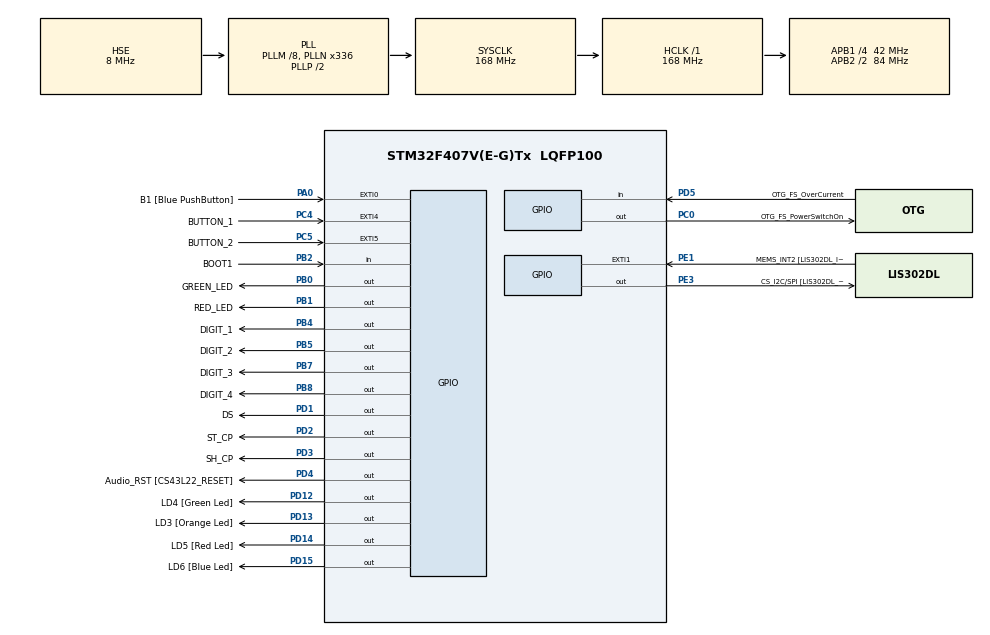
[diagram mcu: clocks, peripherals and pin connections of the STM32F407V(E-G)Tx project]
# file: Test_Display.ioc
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Mcu.Family=STM32F4
Mcu.Name=STM32F407V(E-G)Tx
Mcu.Package=LQFP100
NVIC.EXTI0_IRQn=true\:0\:0\:false\:false\:true\:true\:true\:true
NVIC.EXTI4_IRQn=true\:0\:0\:false\:false\:true\:true\:true\:true
NVIC.EXTI9_5_IRQn=true\:0\:0\:false\:false\:true\:true\:true\:true
NVIC.PriorityGroup=NVIC_PRIORITYGROUP_0
NVIC.TIM2_IRQn=true\:0\:0\:false\:false\:true\:true\:true\:true
NVIC.TIM3_IRQn=true\:0\:0\:false\:false\:true\:true\:true\:true
PA0-WKUP.GPIO_Label=B1 [Blue PushButton]
PA0-WKUP.GPIO_ModeDefaultEXTI=GPIO_MODE_IT_RISING
PA0-WKUP.GPIO_PuPd=GPIO_NOPULL
PA0-WKUP.Signal=GPXTI0
PA10.GPIO_Label=OTG_FS_ID
PA10.GPIO_Mode=GPIO_MODE_AF_PP
PA10.GPIO_PuPd=GPIO_NOPULL
PA10.GPIO_Speed=GPIO_SPEED_FREQ_LOW
PA10.Signal=USB_OTG_FS_ID
PA11.GPIO_Label=OTG_FS_DM
PA11.GPIO_Mode=GPIO_MODE_AF_PP
PA11.GPIO_PuPd=GPIO_NOPULL
PA11.GPIO_Speed=GPIO_SPEED_FREQ_LOW
PA11.Signal=USB_OTG_FS_DM
PA12.GPIO_Label=OTG_FS_DP
PA12.GPIO_Mode=GPIO_MODE_AF_PP
PA12.GPIO_PuPd=GPIO_NOPULL
PA12.GPIO_Speed=GPIO_SPEED_FREQ_LOW
PA12.Signal=USB_OTG_FS_DP
PA13.GPIO_Label=SWDIO
PA13.Mode=Serial_Wire
PA13.Signal=SYS_JTMS-SWDIO
PA14.GPIO_Label=SWCLK
PA14.Mode=Serial_Wire
PA14.Signal=SYS_JTCK-SWCLK
PA4.GPIO_Label=I2S3_WS [CS43L22_LRCK]
PA4.GPIO_Mode=GPIO_MODE_AF_PP
PA4.GPIO_PuPd=GPIO_NOPULL
PA4.GPIO_Speed=GPIO_SPEED_FREQ_LOW
PA4.Signal=I2S3_WS
PA5.GPIO_Label=SPI1_SCK [LIS302DL_SCL/SPC]
PA5.GPIO_Mode=GPIO_MODE_AF_PP
PA5.GPIO_PuPd=GPIO_NOPULL
PA5.GPIO_Speed=GPIO_SPEED_FREQ_LOW
PA5.Signal=SPI1_SCK
PA6.GPIO_Label=SPI1_MISO [LIS302DL_SDO]
PA6.GPIO_Mode=GPIO_MODE_AF_PP
PA6.GPIO_PuPd=GPIO_NOPULL
PA6.GPIO_Speed=GPIO_SPEED_FREQ_LOW
PA6.Signal=SPI1_MISO
PA7.GPIO_Label=SPI1_MOSI [LIS302DL_SDA/SDI/SDO]
PA7.GPIO_Mode=GPIO_MODE_AF_PP
PA7.GPIO_PuPd=GPIO_NOPULL
PA7.GPIO_Speed=GPIO_SPEED_FREQ_LOW
PA7.Signal=SPI1_MOSI
PA9.GPIO_Label=VBUS_FS
PA9.GPIO_Mode=GPIO_MODE_INPUT
PA9.GPIO_PuPd=GPIO_NOPULL
PA9.Signal=USB_OTG_FS_VBUS
PB0.GPIO_Label=GREEN_LED
PB0.Signal=GPIO_Output
PB1.GPIO_Label=RED_LED
PB1.Signal=GPIO_Output
PB10.GPIO_Label=CLK_IN [MP45DT02_CLK]
PB10.GPIO_Mode=GPIO_MODE_AF_PP
PB10.GPIO_PuPd=GPIO_NOPULL
PB10.GPIO_Speed=GPIO_SPEED_FREQ_LOW
PB10.Signal=I2S2_CK
PB2.GPIO_Label=BOOT1
PB2.GPIO_Mode=GPIO_MODE_INPUT
PB2.GPIO_PuPd=GPIO_NOPULL
PB2.Signal=GPIO_Input
PB3.GPIO_Label=SWO
PB3.Signal=SYS_JTDO-SWO
PB4.GPIO_Label=DIGIT_1
PB4.Signal=GPIO_Output
PB5.GPIO_Label=DIGIT_2
PB5.Signal=GPIO_Output
PB6.GPIO_Label=Audio_SCL [CS43L22_SCL]
PB6.GPIO_Mode=GPIO_MODE_AF_OD
PB6.GPIO_Pu=GPIO_PULLUP
PB6.GPIO_PuPd=GPIO_NOPULL
PB6.GPIO_Speed=GPIO_SPEED_FREQ_LOW
PB6.Signal=I2C1_SCL
PB7.GPIO_Label=DIGIT_3
PB7.Signal=GPIO_Output
PB8.GPIO_Label=DIGIT_4
PB8.Signal=GPIO_Output
PB9.GPIO_Label=Audio_SDA [CS43L22_SDA]
PB9.GPIO_Mode=GPIO_MODE_AF_OD
PB9.GPIO_Pu=GPIO_PULLUP
PB9.GPIO_PuPd=GPIO_NOPULL
PB9.GPIO_Speed=GPIO_SPEED_FREQ_LOW
PB9.Signal=I2C1_SDA
PC0.GPIO_Label=OTG_FS_PowerSwitchOn
PC0.GPIO_PuPd=GPIO_NOPULL
PC0.GPIO_Speed=GPIO_SPEED_FREQ_LOW
PC0.PinState=GPIO_PIN_SET
PC0.Signal=GPIO_Output
PC10.GPIO_Label=I2S3_SCK [CS43L22_SCLK]
PC10.GPIO_Mode=GPIO_MODE_AF_PP
PC10.GPIO_PuPd=GPIO_NOPULL
PC10.GPIO_Speed=GPIO_SPEED_FREQ_LOW
PC10.Signal=I2S3_CK
PC12.GPIO_Label=I2S3_SD [CS43L22_SDIN]
PC12.GPIO_Mode=GPIO_MODE_AF_PP
PC12.GPIO_PuPd=GPIO_NOPULL
PC12.GPIO_Speed=GPIO_SPEED_FREQ_LOW
PC12.Signal=I2S3_SD
PC14-OSC32_IN.GPIO_Label=PC14-OSC32_IN
PC14-OSC32_IN.Mode=LSE-External-Oscillator
PC14-OSC32_IN.Signal=RCC_OSC32_IN
PC15-OSC32_OUT.GPIO_Label=PC15-OSC32_OUT
PC15-OSC32_OUT.Mode=LSE-External-Oscillator
PC15-OSC32_OUT.Signal=RCC_OSC32_OUT
PC3.GPIO_Label=PDM_OUT [MP45DT02_DOUT]
PC3.GPIO_Mode=GPIO_MODE_AF_PP
PC3.GPIO_PuPd=GPIO_NOPULL
PC3.GPIO_Speed=GPIO_SPEED_FREQ_LOW
PC3.Signal=I2S2_SD
PC4.GPIO_Label=BUTTON_1
PC4.Signal=GPXTI4
PC5.GPIO_Label=BUTTON_2
PC5.Signal=GPXTI5
PC7.GPIO_Label=I2S3_MCK [CS43L22_MCLK]
PC7.GPIO_Mode=GPIO_MODE_AF_PP
PC7.GPIO_PuPd=GPIO_NOPULL
PC7.GPIO_Speed=GPIO_SPEED_FREQ_LOW
PC7.Signal=I2S3_MCK
PD1.GPIO_Label=DS
PD1.Signal=GPIO_Output
PD12.GPIO_Label=LD4 [Green Led]
PD12.GPIO_PuPd=GPIO_NOPULL
PD12.GPIO_Speed=GPIO_SPEED_FREQ_LOW
PD12.Signal=GPIO_Output
PD13.GPIO_Label=LD3 [Orange Led]
PD13.GPIO_PuPd=GPIO_NOPULL
PD13.GPIO_Speed=GPIO_SPEED_FREQ_LOW
PD13.Signal=GPIO_Output
PD14.GPIO_Label=LD5 [Red Led]
PD14.GPIO_PuPd=GPIO_NOPULL
PD14.GPIO_Speed=GPIO_SPEED_FREQ_LOW
PD14.Signal=GPIO_Output
PD15.GPIO_Label=LD6 [Blue Led]
PD15.GPIO_PuPd=GPIO_NOPULL
PD15.GPIO_Speed=GPIO_SPEED_FREQ_LOW
PD15.Signal=GPIO_Output
PD2.GPIO_Label=ST_CP
PD2.Signal=GPIO_Output
PD3.GPIO_Label=SH_CP
PD3.Signal=GPIO_Output
PD4.GPIO_Label=Audio_RST [CS43L22_RESET]
PD4.GPIO_PuPd=GPIO_NOPULL
PD4.GPIO_Speed=GPIO_SPEED_FREQ_LOW
PD4.Signal=GPIO_Output
PD5.GPIO_Label=OTG_FS_OverCurrent
PD5.GPIO_Mode=GPIO_MODE_INPUT
PD5.GPIO_PuPd=GPIO_NOPULL
PD5.Signal=GPIO_Input
PE1.GPIO_Label=MEMS_INT2 [LIS302DL_INT2]
PE1.GPIO_ModeDefaultEXTI=GPIO_MODE_EVT_RISING
PE1.GPIO_PuPd=GPIO_NOPULL
PE1.Signal=GPXTI1
PE3.GPIO_Label=CS_I2C/SPI [LIS302DL_CS_I2C/SPI]
PE3.GPIO_PuPd=GPIO_NOPULL
PE3.GPIO_Speed=GPIO_SPEED_FREQ_LOW
PE3.Signal=GPIO_Output
PH0-OSC_IN.GPIO_Label=PH0-OSC_IN
PH0-OSC_IN.Mode=HSE-External-Oscillator
PH0-OSC_IN.Signal=RCC_OSC_IN
PH1-OSC_OUT.GPIO_Label=PH1-OSC_OUT
PH1-OSC_OUT.Mode=HSE-External-Oscillator
PH1-OSC_OUT.Signal=RCC_OSC_OUT
ProjectManager.HeapSize=0x200
ProjectManager.StackSize=0x400
ProjectManager.TargetToolchain=STM32CubeIDE
RCC.48MHZClocksFreq_Value=48000000
RCC.AHBFreq_Value=168000000
RCC.APB1CLKDivider=RCC_HCLK_DIV4
RCC.APB1Freq_Value=42000000
RCC.APB1TimFreq_Value=84000000
RCC.APB2CLKDivider=RCC_HCLK_DIV2
RCC.APB2Freq_Value=84000000
RCC.APB2TimFreq_Value=168000000
RCC.CortexFreq_Value=168000000
RCC.HCLKFreq_Value=168000000
RCC.HSE_VALUE=8000000
RCC.HSI_VALUE=16000000
RCC.PLLM=8
RCC.PLLN=336
RCC.PLLQ=7
RCC.PLLSourceVirtual=RCC_PLLSOURCE_HSE
RCC.SYSCLKFreq_VALUE=168000000
RCC.SYSCLKSource=RCC_SYSCLKSOURCE_PLLCLK
RCC.VCOOutputFreq_Value=336000000
TIM2.Period=20000
TIM2.Prescaler=4200
TIM3.Period=20000
TIM3.Prescaler=19753
VP_TIM2_VS_ClockSourceINT.Mode=Internal
VP_TIM3_VS_ClockSourceINT.Mode=Internal
board=STM32F407G-DISC1

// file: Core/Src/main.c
/* USER CODE BEGIN Header */
/**
  ******************************************************************************
  * @file           : main.c
  * @brief          : Main program body
  ******************************************************************************
  * @attention
  *
  * Copyright (c) 2023 STMicroelectronics.
  * All rights reserved.
  *
  * This software is licensed under terms that can be found in the LICENSE file
  * in the root directory of this software component.
  * If no LICENSE file comes with this software, it is provided AS-IS.
  *
  ******************************************************************************
  */
/* USER CODE END Header */
#include "main.h"

/* USER CODE BEGIN PD */
//#define DATA      9 // DS
//#define LATCH     8 // ST_CP
//#define CLOCK     7 // SH_CP
//
//#define DIGIT_4   10
//#define DIGIT_3   11
//#define DIGIT_2   12
//#define DIGIT_1   13
/* USER CODE END PD */

TIM_HandleTypeDef htim2;
TIM_HandleTypeDef htim3;

/* USER CODE BEGIN PV */
	unsigned char gtable[]=
	{0x3f,0x06,0x5b,0x4f,0x66,0x6d,0x7d,0x07,0x7f,0x6f,0x77,0x7c
	,0x39,0x5e,0x79,0x71,0x00};

	volatile int  gCount = 30;
	unsigned char gCurrentDigit;
	volatile unsigned char gBuzzerFlag = 0;
/* USER CODE END PV */

void SystemClock_Config(void);
static void MX_GPIO_Init(void);
static void MX_TIM2_Init(void);
static void MX_TIM3_Init(void);
/* USER CODE BEGIN PFP */
void dispOff();
void display(int num, int dp);
void shiftOut(uint8_t dataPin, uint8_t clockPin, uint8_t bitOrder, uint8_t val);
/* USER CODE END PFP */

int main(void)
{

  /* MCU Configuration--------------------------------------------------------*/

  /* Reset of all peripherals, Initializes the Flash interface and the Systick. */
  HAL_Init();

  /* Configure the system clock */
  SystemClock_Config();

  /* Initialize all configured peripherals */
  MX_GPIO_Init();
  MX_TIM2_Init();
  MX_TIM3_Init();
  /* USER CODE BEGIN 2 */
  HAL_TIM_Base_Start_IT(&htim2);
  /* USER CODE END 2 */

  /* Infinite loop */
  while (1)
  {

  }
}

void SystemClock_Config(void)
{
  RCC_OscInitTypeDef RCC_OscInitStruct = {0};
  RCC_ClkInitTypeDef RCC_ClkInitStruct = {0};

  /** Configure the main internal regulator output voltage
  */
  __HAL_RCC_PWR_CLK_ENABLE();
  __HAL_PWR_VOLTAGESCALING_CONFIG(PWR_REGULATOR_VOLTAGE_SCALE1);

  /** Initializes the RCC Oscillators according to the specified parameters
  * in the RCC_OscInitTypeDef structure.
  */
  RCC_OscInitStruct.OscillatorType = RCC_OSCILLATORTYPE_HSE;
  RCC_OscInitStruct.HSEState = RCC_HSE_ON;
  RCC_OscInitStruct.PLL.PLLState = RCC_PLL_ON;
  RCC_OscInitStruct.PLL.PLLSource = RCC_PLLSOURCE_HSE;
  RCC_OscInitStruct.PLL.PLLM = 8;
  RCC_OscInitStruct.PLL.PLLN = 336;
  RCC_OscInitStruct.PLL.PLLP = RCC_PLLP_DIV2;
  RCC_OscInitStruct.PLL.PLLQ = 7;
  if (HAL_RCC_OscConfig(&RCC_OscInitStruct) != HAL_OK)
  {
    Error_Handler();
  }

  /** Initializes the CPU, AHB and APB buses clocks
  */
  RCC_ClkInitStruct.ClockType = RCC_CLOCKTYPE_HCLK|RCC_CLOCKTYPE_SYSCLK
                              |RCC_CLOCKTYPE_PCLK1|RCC_CLOCKTYPE_PCLK2;
  RCC_ClkInitStruct.SYSCLKSource = RCC_SYSCLKSOURCE_PLLCLK;
  RCC_ClkInitStruct.AHBCLKDivider = RCC_SYSCLK_DIV1;
  RCC_ClkInitStruct.APB1CLKDivider = RCC_HCLK_DIV4;
  RCC_ClkInitStruct.APB2CLKDivider = RCC_HCLK_DIV2;

  if (HAL_RCC_ClockConfig(&RCC_ClkInitStruct, FLASH_LATENCY_5) != HAL_OK)
  {
    Error_Handler();
  }
}

static void MX_TIM2_Init(void)
{

  TIM_ClockConfigTypeDef sClockSourceConfig = {0};
  TIM_MasterConfigTypeDef sMasterConfig = {0};

  htim2.Instance = TIM2;
  htim2.Init.Prescaler = 4200;
  htim2.Init.CounterMode = TIM_COUNTERMODE_UP;
  htim2.Init.Period = 20000;
  htim2.Init.ClockDivision = TIM_CLOCKDIVISION_DIV1;
  htim2.Init.AutoReloadPreload = TIM_AUTORELOAD_PRELOAD_DISABLE;
  if (HAL_TIM_Base_Init(&htim2) != HAL_OK)
  {
    Error_Handler();
  }
  sClockSourceConfig.ClockSource = TIM_CLOCKSOURCE_INTERNAL;
  if (HAL_TIM_ConfigClockSource(&htim2, &sClockSourceConfig) != HAL_OK)
  {
    Error_Handler();
  }
  sMasterConfig.MasterOutputTrigger = TIM_TRGO_RESET;
  sMasterConfig.MasterSlaveMode = TIM_MASTERSLAVEMODE_DISABLE;
  if (HAL_TIMEx_MasterConfigSynchronization(&htim2, &sMasterConfig) != HAL_OK)
  {
    Error_Handler();
  }

}

static void MX_TIM3_Init(void)
{

  TIM_ClockConfigTypeDef sClockSourceConfig = {0};
  TIM_MasterConfigTypeDef sMasterConfig = {0};

  htim3.Instance = TIM3;
  htim3.Init.Prescaler = 19753;
  htim3.Init.CounterMode = TIM_COUNTERMODE_UP;
  htim3.Init.Period = 20000;
  htim3.Init.ClockDivision = TIM_CLOCKDIVISION_DIV1;
  htim3.Init.AutoReloadPreload = TIM_AUTORELOAD_PRELOAD_DISABLE;
  if (HAL_TIM_Base_Init(&htim3) != HAL_OK)
  {
    Error_Handler();
  }
  sClockSourceConfig.ClockSource = TIM_CLOCKSOURCE_INTERNAL;
  if (HAL_TIM_ConfigClockSource(&htim3, &sClockSourceConfig) != HAL_OK)
  {
    Error_Handler();
  }
  sMasterConfig.MasterOutputTrigger = TIM_TRGO_RESET;
  sMasterConfig.MasterSlaveMode = TIM_MASTERSLAVEMODE_DISABLE;
  if (HAL_TIMEx_MasterConfigSynchronization(&htim3, &sMasterConfig) != HAL_OK)
  {
    Error_Handler();
  }

}

static void MX_GPIO_Init(void)
{
  GPIO_InitTypeDef GPIO_InitStruct = {0};

  /* GPIO Ports Clock Enable */
  __HAL_RCC_GPIOE_CLK_ENABLE();
  __HAL_RCC_GPIOC_CLK_ENABLE();
  __HAL_RCC_GPIOH_CLK_ENABLE();
  __HAL_RCC_GPIOA_CLK_ENABLE();
  __HAL_RCC_GPIOB_CLK_ENABLE();
  __HAL_RCC_GPIOD_CLK_ENABLE();

  /*Configure GPIO pin Output Level */
  HAL_GPIO_WritePin(CS_I2C_SPI_GPIO_Port, CS_I2C_SPI_Pin, GPIO_PIN_RESET);

  /*Configure GPIO pin Output Level */
  HAL_GPIO_WritePin(OTG_FS_PowerSwitchOn_GPIO_Port, OTG_FS_PowerSwitchOn_Pin, GPIO_PIN_SET);

  /*Configure GPIO pin Output Level */
  HAL_GPIO_WritePin(GPIOB, GREEN_LED_Pin|RED_LED_Pin|DIGIT_1_Pin|DIGIT_2_Pin
                          |DIGIT_3_Pin|DIGIT_4_Pin, GPIO_PIN_RESET);

  /*Configure GPIO pin Output Level */
  HAL_GPIO_WritePin(GPIOD, LD4_Pin|LD3_Pin|LD5_Pin|LD6_Pin
                          |DS_Pin|ST_CP_Pin|SH_CP_Pin|Audio_RST_Pin, GPIO_PIN_RESET);

  /*Configure GPIO pin : CS_I2C_SPI_Pin */
  GPIO_InitStruct.Pin = CS_I2C_SPI_Pin;
  GPIO_InitStruct.Mode = GPIO_MODE_OUTPUT_PP;
  GPIO_InitStruct.Pull = GPIO_NOPULL;
  GPIO_InitStruct.Speed = GPIO_SPEED_FREQ_LOW;
  HAL_GPIO_Init(CS_I2C_SPI_GPIO_Port, &GPIO_InitStruct);

  /*Configure GPIO pin : OTG_FS_PowerSwitchOn_Pin */
  GPIO_InitStruct.Pin = OTG_FS_PowerSwitchOn_Pin;
  GPIO_InitStruct.Mode = GPIO_MODE_OUTPUT_PP;
  GPIO_InitStruct.Pull = GPIO_NOPULL;
  GPIO_InitStruct.Speed = GPIO_SPEED_FREQ_LOW;
  HAL_GPIO_Init(OTG_FS_PowerSwitchOn_GPIO_Port, &GPIO_InitStruct);

  /*Configure GPIO pin : PDM_OUT_Pin */
  GPIO_InitStruct.Pin = PDM_OUT_Pin;
  GPIO_InitStruct.Mode = GPIO_MODE_AF_PP;
  GPIO_InitStruct.Pull = GPIO_NOPULL;
  GPIO_InitStruct.Speed = GPIO_SPEED_FREQ_LOW;
  GPIO_InitStruct.Alternate = GPIO_AF5_SPI2;
  HAL_GPIO_Init(PDM_OUT_GPIO_Port, &GPIO_InitStruct);

  /*Configure GPIO pin : B1_Pin */
  GPIO_InitStruct.Pin = B1_Pin;
  GPIO_InitStruct.Mode = GPIO_MODE_IT_RISING;
  GPIO_InitStruct.Pull = GPIO_NOPULL;
  HAL_GPIO_Init(B1_GPIO_Port, &GPIO_InitStruct);

  /*Configure GPIO pin : I2S3_WS_Pin */
  GPIO_InitStruct.Pin = I2S3_WS_Pin;
  GPIO_InitStruct.Mode = GPIO_MODE_AF_PP;
  GPIO_InitStruct.Pull = GPIO_NOPULL;
  GPIO_InitStruct.Speed = GPIO_SPEED_FREQ_LOW;
  GPIO_InitStruct.Alternate = GPIO_AF6_SPI3;
  HAL_GPIO_Init(I2S3_WS_GPIO_Port, &GPIO_InitStruct);

  /*Configure GPIO pins : SPI1_SCK_Pin SPI1_MISO_Pin SPI1_MOSI_Pin */
  GPIO_InitStruct.Pin = SPI1_SCK_Pin|SPI1_MISO_Pin|SPI1_MOSI_Pin;
  GPIO_InitStruct.Mode = GPIO_MODE_AF_PP;
  GPIO_InitStruct.Pull = GPIO_NOPULL;
  GPIO_InitStruct.Speed = GPIO_SPEED_FREQ_LOW;
  GPIO_InitStruct.Alternate = GPIO_AF5_SPI1;
  HAL_GPIO_Init(GPIOA, &GPIO_InitStruct);

  /*Configure GPIO pins : BUTTON_1_Pin BUTTON_2_Pin */
  GPIO_InitStruct.Pin = BUTTON_1_Pin|BUTTON_2_Pin;
  GPIO_InitStruct.Mode = GPIO_MODE_IT_RISING;
  GPIO_InitStruct.Pull = GPIO_NOPULL;
  HAL_GPIO_Init(GPIOC, &GPIO_InitStruct);

  /*Configure GPIO pins : GREEN_LED_Pin RED_LED_Pin DIGIT_1_Pin DIGIT_2_Pin
                           DIGIT_3_Pin DIGIT_4_Pin */
  GPIO_InitStruct.Pin = GREEN_LED_Pin|RED_LED_Pin|DIGIT_1_Pin|DIGIT_2_Pin
                          |DIGIT_3_Pin|DIGIT_4_Pin;
  GPIO_InitStruct.Mode = GPIO_MODE_OUTPUT_PP;
  GPIO_InitStruct.Pull = GPIO_NOPULL;
  GPIO_InitStruct.Speed = GPIO_SPEED_FREQ_LOW;
  HAL_GPIO_Init(GPIOB, &GPIO_InitStruct);

  /*Configure GPIO pin : BOOT1_Pin */
  GPIO_InitStruct.Pin = BOOT1_Pin;
  GPIO_InitStruct.Mode = GPIO_MODE_INPUT;
  GPIO_InitStruct.Pull = GPIO_NOPULL;
  HAL_GPIO_Init(BOOT1_GPIO_Port, &GPIO_InitStruct);

  /*Configure GPIO pin : CLK_IN_Pin */
  GPIO_InitStruct.Pin = CLK_IN_Pin;
  GPIO_InitStruct.Mode = GPIO_MODE_AF_PP;
  GPIO_InitStruct.Pull = GPIO_NOPULL;
  GPIO_InitStruct.Speed = GPIO_SPEED_FREQ_LOW;
  GPIO_InitStruct.Alternate = GPIO_AF5_SPI2;
  HAL_GPIO_Init(CLK_IN_GPIO_Port, &GPIO_InitStruct);

  /*Configure GPIO pins : LD4_Pin LD3_Pin LD5_Pin LD6_Pin
                           DS_Pin ST_CP_Pin SH_CP_Pin Audio_RST_Pin */
  GPIO_InitStruct.Pin = LD4_Pin|LD3_Pin|LD5_Pin|LD6_Pin
                          |DS_Pin|ST_CP_Pin|SH_CP_Pin|Audio_RST_Pin;
  GPIO_InitStruct.Mode = GPIO_MODE_OUTPUT_PP;
  GPIO_InitStruct.Pull = GPIO_NOPULL;
  GPIO_InitStruct.Speed = GPIO_SPEED_FREQ_LOW;
  HAL_GPIO_Init(GPIOD, &GPIO_InitStruct);

  /*Configure GPIO pins : I2S3_MCK_Pin I2S3_SCK_Pin I2S3_SD_Pin */
  GPIO_InitStruct.Pin = I2S3_MCK_Pin|I2S3_SCK_Pin|I2S3_SD_Pin;
  GPIO_InitStruct.Mode = GPIO_MODE_AF_PP;
  GPIO_InitStruct.Pull = GPIO_NOPULL;
  GPIO_InitStruct.Speed = GPIO_SPEED_FREQ_LOW;
  GPIO_InitStruct.Alternate = GPIO_AF6_SPI3;
  HAL_GPIO_Init(GPIOC, &GPIO_InitStruct);

  /*Configure GPIO pin : VBUS_FS_Pin */
  GPIO_InitStruct.Pin = VBUS_FS_Pin;
  GPIO_InitStruct.Mode = GPIO_MODE_INPUT;
  GPIO_InitStruct.Pull = GPIO_NOPULL;
  HAL_GPIO_Init(VBUS_FS_GPIO_Port, &GPIO_InitStruct);

  /*Configure GPIO pins : OTG_FS_ID_Pin OTG_FS_DM_Pin OTG_FS_DP_Pin */
  GPIO_InitStruct.Pin = OTG_FS_ID_Pin|OTG_FS_DM_Pin|OTG_FS_DP_Pin;
  GPIO_InitStruct.Mode = GPIO_MODE_AF_PP;
  GPIO_InitStruct.Pull = GPIO_NOPULL;
  GPIO_InitStruct.Speed = GPIO_SPEED_FREQ_LOW;
  GPIO_InitStruct.Alternate = GPIO_AF10_OTG_FS;
  HAL_GPIO_Init(GPIOA, &GPIO_InitStruct);

  /*Configure GPIO pin : OTG_FS_OverCurrent_Pin */
  GPIO_InitStruct.Pin = OTG_FS_OverCurrent_Pin;
  GPIO_InitStruct.Mode = GPIO_MODE_INPUT;
  GPIO_InitStruct.Pull = GPIO_NOPULL;
  HAL_GPIO_Init(OTG_FS_OverCurrent_GPIO_Port, &GPIO_InitStruct);

  /*Configure GPIO pins : Audio_SCL_Pin Audio_SDA_Pin */
  GPIO_InitStruct.Pin = Audio_SCL_Pin|Audio_SDA_Pin;
  GPIO_InitStruct.Mode = GPIO_MODE_AF_OD;
  GPIO_InitStruct.Pull = GPIO_PULLUP;
  GPIO_InitStruct.Speed = GPIO_SPEED_FREQ_LOW;
  GPIO_InitStruct.Alternate = GPIO_AF4_I2C1;
  HAL_GPIO_Init(GPIOB, &GPIO_InitStruct);

  /*Configure GPIO pin : MEMS_INT2_Pin */
  GPIO_InitStruct.Pin = MEMS_INT2_Pin;
  GPIO_InitStruct.Mode = GPIO_MODE_EVT_RISING;
  GPIO_InitStruct.Pull = GPIO_NOPULL;
  HAL_GPIO_Init(MEMS_INT2_GPIO_Port, &GPIO_InitStruct);

  /* EXTI interrupt init*/
  HAL_NVIC_SetPriority(EXTI0_IRQn, 0, 0);
  HAL_NVIC_EnableIRQ(EXTI0_IRQn);

  HAL_NVIC_SetPriority(EXTI4_IRQn, 0, 0);
  HAL_NVIC_EnableIRQ(EXTI4_IRQn);

  HAL_NVIC_SetPriority(EXTI9_5_IRQn, 0, 0);
  HAL_NVIC_EnableIRQ(EXTI9_5_IRQn);

}

/* USER CODE BEGIN 4 */
void HAL_GPIO_EXTI_Callback(uint16_t GPIO_Pin){
	if(GPIO_Pin == B1_Pin){
		HAL_GPIO_TogglePin(GPIOD, LD3_Pin);
	}
	if(GPIO_Pin == BUTTON_1_Pin){
		HAL_GPIO_TogglePin(GPIOB, RED_LED_Pin);
		gCount++;
	}
	if(GPIO_Pin == BUTTON_2_Pin){
		HAL_GPIO_TogglePin(GPIOB, GREEN_LED_Pin);
	}
}

void HAL_TIM_PeriodElapsedCallback(TIM_HandleTypeDef *htim){
	if(htim == &htim2){
		// count down
		  if(gCount == 0)
		  {
		      gBuzzerFlag = 1;
		  } else {
			  gCount--;
		  }
	}
	if(htim == &htim3){
		// display digits
		  dispOff();  // turn off the display

		  switch (gCurrentDigit)
		  {
		    case 1: //0x:xx
		      display( (int) ((gCount/60) / 10) % 6, 0 );   // prepare to display digit 1 (most left)
		      HAL_GPIO_WritePin(GPIOB, DIGIT_1_Pin, 0);  // turn on digit 1
		      break;

		    case 2: //x0:xx
		      display( (int) (gCount / 60) % 10, 1 );   // prepare to display digit 2
		      HAL_GPIO_WritePin(GPIOB, DIGIT_2_Pin, 0);     // turn on digit 2
		      break;

		    case 3: //xx:0x
		      display( (int) (gCount / 10) % 6, 0 );   // prepare to display digit 3
		      HAL_GPIO_WritePin(GPIOB, DIGIT_3_Pin, 0);    // turn on digit 3
		      break;

		    case 4: //xx:x0
		      display((int) gCount % 10, 0); // prepare to display digit 4 (most right)
		      HAL_GPIO_WritePin(GPIOB, DIGIT_4_Pin, 0);  // turn on digit 4
		      break;

		    default:
		      break;
		  }

		  gCurrentDigit = (gCurrentDigit % 4) + 1;
	}
}

void shiftOut(uint8_t dataPin, uint8_t clockPin, uint8_t bitOrder, uint8_t val)
{
	uint8_t i;

	for (i = 0; i < 8; i++)  {
		if (bitOrder == 0) {
			HAL_GPIO_WritePin(GPIOD, dataPin, val & 1);
			val >>= 1;
		} else {
			HAL_GPIO_WritePin(GPIOD, dataPin, (val & 128) != 0);
			val <<= 1;
		}

		HAL_GPIO_WritePin(GPIOD, clockPin, 1);
		HAL_GPIO_WritePin(GPIOD, clockPin, 0);
	}
}

void display(int num, int dp)
{
	HAL_GPIO_WritePin(GPIOD, ST_CP_Pin, 0);
	shiftOut(DS_Pin, SH_CP_Pin, 1, gtable[num] | (dp<<7));
	HAL_GPIO_WritePin(GPIOD, ST_CP_Pin, 1);
}

void dispOff()
{
	HAL_GPIO_WritePin(GPIOB, DIGIT_1_Pin, 1);
	HAL_GPIO_WritePin(GPIOB, DIGIT_2_Pin, 1);
	HAL_GPIO_WritePin(GPIOB, DIGIT_3_Pin, 1);
	HAL_GPIO_WritePin(GPIOB, DIGIT_4_Pin, 1);
}
/* USER CODE END 4 */

void Error_Handler(void)
{
  __disable_irq();
  while (1)
  {
  }
}
